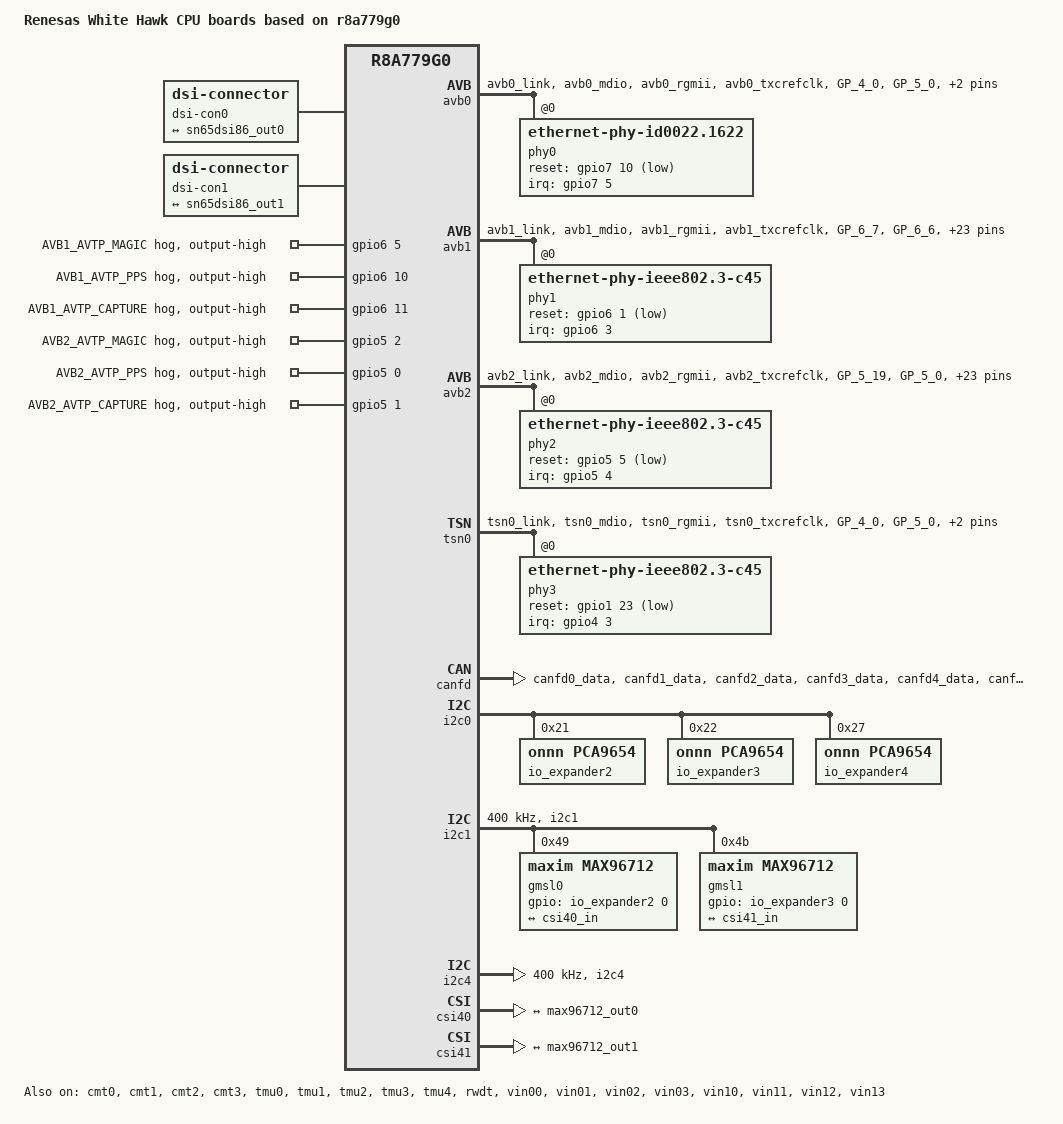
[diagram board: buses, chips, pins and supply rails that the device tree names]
// SPDX-License-Identifier: GPL-2.0
/*
 * Device Tree Source for the White Hawk CPU boards with R-Car V4H
 *
 * Copyright (C) 2021 Renesas Electronics Corp.
 */

/dts-v1/;
#include "r8a779g0-whitehawk-cpu.dtsi"
#include <dt-bindings/media/r8a779g0-csi2.h>

/ {
	model = "Renesas White Hawk CPU boards based on r8a779g0";
	compatible = "renesas,whitehawk-cpu", "renesas,r8a779g0";

	aliases {
		ethernet0 = &avb0;
	};

	reserved-memory {
		#address-cells = <2>;
		#size-cells = <2>;
		ranges;

		vdsp0_region: linux,vdsp0_region@5d000000 {
			compatible = "shared-dma-pool";
			reusable;
			reg = <0x00000000 0x5d000000 0x0 0x00800000>;
		};

		vdsp1_region: linux,vdsp1_region@5d800000 {
			compatible = "shared-dma-pool";
			reusable;
			reg = <0x00000000 0x5d800000 0x0 0x00800000>;
		};

		vdsp2_region: linux,vdsp2_region@5e000000 {
			compatible = "shared-dma-pool";
			reusable;
			reg = <0x00000000 0x5e000000 0x0 0x00800000>;
		};

		vdsp3_region: linux,vdsp3_region@5e800000 {
			compatible = "shared-dma-pool";
			reusable;
			reg = <0x00000000 0x5e800000 0x0 0x00800000>;
		};

		pap_region: linux,pap_region@5f000000 {
			compatible = "shared-dma-pool";
			reusable;
			reg = <0x00000000 0x5f000000 0x0 0x00400000>;
		};

		/* region for cr core application */
		cr_region: linux,cr_region@60000000 {
			no-map;
			reg = <0x00000000 0x60000000 0x0 0x20000000>;
		};

		/* global autoconfigured region for contiguous allocations */
		linux,cma@80000000 {
			compatible = "shared-dma-pool";
			reusable;
			reg = <0x00000000 0x80000000 0x0 0x23000000>;
			linux,cma-default;
		};

		region_40bit: linux,region_40bit@600000000 {
			compatible = "shared-dma-pool";
			reusable;
			reg = <0x6 0x00000000 0x0 0x40000000>;
		};
	};

	dsi-con0 {
		compatible = "dsi-connector";

		port {
			dsi_con_out0: endpoint {
			remote-endpoint = <&sn65dsi86_out0>;
			};
		};
	};

	dsi-con1 {
		compatible = "dsi-connector";

		port {
			dsi_con_out1: endpoint {
			remote-endpoint = <&sn65dsi86_out1>;
			};
		};
	};

	cmem {
		memory-region = <&vdsp0_region>, <&vdsp1_region>,
				<&vdsp2_region>, <&vdsp3_region>,
				<&pap_region>, <&region_40bit>;
	};
};

&avb0 {
	pinctrl-0 = <&avb0_pins>, <&vddq_eth_pins>;
	pinctrl-names = "default";
	phy-handle = <&phy0>;
	tx-internal-delay-ps = <2000>;
	status = "okay";

	phy0: ethernet-phy@0 {
		compatible = "ethernet-phy-id0022.1622",
			     "ethernet-phy-ieee802.3-c22";
		rxc-skew-ps = <1500>;
		reg = <0>;
		interrupt-parent = <&gpio7>;
		interrupts = <5 IRQ_TYPE_LEVEL_LOW>;
		reset-gpios = <&gpio7 10 GPIO_ACTIVE_LOW>;
	};
};

&avb1 {
	pinctrl-0 = <&avb1_pins>, <&vddq_eth_pins>;
	pinctrl-names = "default";
	phy-handle = <&phy1>;
	status = "okay";
	phy-reset-gpios = <&gpio6 1 GPIO_ACTIVE_LOW>;

	phy1: ethernet-phy@1 {
		compatible = "ethernet-phy-ieee802.3-c45";
		reg = <0>;
		interrupt-parent = <&gpio6>;
		interrupts = <3 IRQ_TYPE_LEVEL_LOW>;
		reset-gpios = <&gpio6 1 GPIO_ACTIVE_LOW>;
	};
};

&avb2 {
	pinctrl-0 = <&avb2_pins>, <&vddq_eth_pins>;
	pinctrl-names = "default";
	phy-handle = <&phy2>;
	status = "okay";
	phy-reset-gpios = <&gpio5 5 GPIO_ACTIVE_LOW>;

	phy2: ethernet-phy@2 {
		compatible = "ethernet-phy-ieee802.3-c45";
		reg = <0>;
		interrupt-parent = <&gpio5>;
		interrupts = <4 IRQ_TYPE_LEVEL_LOW>;
		reset-gpios = <&gpio5 5 GPIO_ACTIVE_LOW>;
	};
};

&tsn0 {
	pinctrl-0 = <&tsn0_pins>, <&vddq_eth_pins>;
	pinctrl-names = "default";
	phy-handle = <&phy3>;
	tx-internal-delay;
	status = "okay";

	phy3: ethernet-phy@3 {
		compatible = "ethernet-phy-ieee802.3-c45";
		reg = <0>;
		interrupt-parent = <&gpio4>;
		interrupts = <3 IRQ_TYPE_LEVEL_LOW>;
		reset-gpios = <&gpio1 23 GPIO_ACTIVE_LOW>;
	};
};

&canfd {
	pinctrl-0 = <&canfd0_pins>, <&canfd1_pins>, <&canfd2_pins>,
		<&canfd3_pins>, <&canfd4_pins>, <&canfd5_pins>,
		<&canfd6_pins>, <&canfd7_pins>;
		pinctrl-names = "default";
	status = "okay";

	channel0 {
		status = "okay";
	};

	channel1 {
		status = "okay";
	};

	channel2 {
		status = "okay";
	};

	channel3 {
		status = "okay";
	};

	channel4 {
		status = "okay";
	};

	channel5 {
		status = "okay";
	};

	channel6 {
		status = "okay";
	};

	channel7 {
		status = "okay";
	};
};

&gpio6 {
	avb1_avtp_match {
		gpio-hog;
		gpios = <5 GPIO_ACTIVE_HIGH>;
		output-high;
		line-name = "AVB1_AVTP_MAGIC";
	};

	avb1_avtp_pps {
		gpio-hog;
		gpios = <10 GPIO_ACTIVE_HIGH>;
		output-high;
		line-name = "AVB1_AVTP_PPS";
	};

	avb1_avtp_capture {
		gpio-hog;
		gpios = <11 GPIO_ACTIVE_HIGH>;
		output-high;
		line-name = "AVB1_AVTP_CAPTURE";
	};
};

&gpio5 {
	avb2_avtp_match {
		gpio-hog;
		gpios = <2 GPIO_ACTIVE_HIGH>;
		output-high;
		line-name = "AVB2_AVTP_MAGIC";
	};

	avb2_avtp_pps {
		gpio-hog;
		gpios = <0 GPIO_ACTIVE_HIGH>;
		output-high;
		line-name = "AVB2_AVTP_PPS";
	};

	avb2_avtp_capture {
		gpio-hog;
		gpios = <1 GPIO_ACTIVE_HIGH>;
		output-high;
		line-name = "AVB2_AVTP_CAPTURE";
	};
};

&pfc {
	vddq_eth_pins: vddq_eth {
		pins_pwr {
			pins = "GP_4_0", "GP_5_0", "GP_6_0","GP_7_0";
			power-source = <3300>;
		};
	};

	avb0_pins: avb0 {
		mux {
			groups = "avb0_link", "avb0_mdio", "avb0_rgmii",
				 "avb0_txcrefclk";
			function = "avb0";
		};

		pins_mdio {
			groups = "avb0_mdio";
			drive-strength = <21>;
		};

		pins_mii {
			groups = "avb0_rgmii";
			drive-strength = <21>;
		};

	};

	avb1_pins: avb1 {
		mux {
			groups = "avb1_link", "avb1_mdio", "avb1_rgmii",
			"avb1_txcrefclk";
			function = "avb1";
		};

		pins_mdio {
			groups = "avb1_mdio";
			drive-strength = <24>;
		};

		pins_mii_tx {
			pins = "GP_6_7", "GP_6_6",
				"GP_6_13", "GP_6_12",
				"GP_6_16", "GP_6_18";
			drive-strength = <24>;
		};

		pin_tx_ctl {
			pins = "GP_6_7";
			bias-pull-up;
		};

		pins_puen_disable {
			pins = "GP_6_0", "GP_6_1", "GP_6_2", "GP_6_3", "GP_6_4",
			"GP_6_5", "GP_6_6", "GP_6_8", "GP_6_9", "GP_6_10",
			"GP_6_11", "GP_6_12", "GP_6_13", "GP_6_14", "GP_6_15",
			"GP_6_16", "GP_6_17", "GP_6_18", "GP_6_19", "GP_6_20";
			bias-disable;
		};
	};

	avb2_pins: avb2 {
		mux {
			groups = "avb2_link", "avb2_mdio", "avb2_rgmii",
				"avb2_txcrefclk";
			function = "avb2";
		};

		pins_mdio {
			groups = "avb2_mdio";
			drive-strength = <24>;
		};

		pin_tx_ctl {
			pins = "GP_5_19";
			bias-pull-up;
		};

		pins_puen_disable {
			pins = "GP_5_0", "GP_5_1", "GP_5_2", "GP_5_3", "GP_5_4",
				"GP_5_5", "GP_5_6", "GP_5_7", "GP_5_8", "GP_5_9", "GP_5_10",
				"GP_5_11", "GP_5_12", "GP_5_13", "GP_5_14", "GP_5_15",
				"GP_5_16", "GP_5_17", "GP_5_18", "GP_5_20";
			bias-disable;
		};
	};

	tsn0_pins: tsn0 {
		mux {
			groups = "tsn0_link", "tsn0_mdio", "tsn0_rgmii",
				 "tsn0_txcrefclk";
			function = "tsn0";
		};

		pins_mdio {
			groups = "tsn0_mdio";
			drive-strength = <21>;
		};

		pins_mii {
			groups = "tsn0_rgmii";
			drive-strength = <21>;
		};

	};

	i2c1_pins: i2c1 {
		groups = "i2c1";
		function = "i2c1";
	};

	i2c4_pins: i2c4 {
		groups = "i2c4";
		function = "i2c4";
	};

	canfd0_pins: canfd0 {
		groups = "canfd0_data";
		function = "canfd0";
	};

	canfd1_pins: canfd1 {
		groups = "canfd1_data";
		function = "canfd1";
	};

	canfd2_pins: canfd2 {
		groups = "canfd2_data";
		function = "canfd2";
	};

	canfd3_pins: canfd3 {
		groups = "canfd3_data";
		function = "canfd3";
	};

	canfd4_pins: canfd4 {
		groups = "canfd4_data";
		function = "canfd4";
	};

	canfd5_pins: canfd5 {
		groups = "canfd5_data";
		function = "canfd5";
	};

	canfd6_pins: canfd6 {
		groups = "canfd6_data";
		function = "canfd6";
	};

	canfd7_pins: canfd7 {
		groups = "canfd7_data";
		function = "canfd7";
	};

};

&cmt0 {
	status = "okay";
};

&cmt1 {
	status = "okay";
};

&cmt2 {
	status = "okay";
};

&cmt3 {
	status = "okay";
};

&tmu0 {
	status = "okay";
};

&tmu1 {
	status = "okay";
};

&tmu2 {
	status = "okay";
};

&tmu3 {
	status = "okay";
};

&tmu4 {
	status = "okay";
};

&rwdt {
	timeout-sec = <60>;
	status = "okay";
};

&i2c0 {
	io_expander2: gpio@21 {
		compatible = "onnn,pca9654";
		reg = <0x21>;
		gpio-controller;
		#gpio-cells = <2>;
	};

	io_expander3: gpio@22 {
		compatible = "onnn,pca9654";
		reg = <0x22>;
		gpio-controller;
		#gpio-cells = <2>;
	};

	io_expander4: gpio@27 {
		compatible = "onnn,pca9654";
		reg = <0x27>;
		gpio-controller;
		#gpio-cells = <2>;
	};
};

&i2c1 {
	pinctrl-0 = <&i2c1_pins>;
	pinctrl-names = "default";

	status = "okay";
	clock-frequency = <400000>;

	sn65dsi86_0@2c {
		compatible = "ti,sn65dsi86";
		reg = <0x2c>;
		dp-connector;
		clocks = <&ref_clk>;
		clock-names = "refclk";
		no-use-gpio;
		no-use-scramble;
		hpd-poll;
		status = "disabled";

		ports {
			#address-cells = <1>;
			#size-cells = <0>;

			port@0 {
				reg = <0>;
				sn65dsi86_in0: endpoint {
					remote-endpoint = <&dsi0_out>;
				};
			};

			port@1 {
				reg = <1>;
				sn65dsi86_out0: endpoint {
					remote-endpoint = <&dsi_con_out0>;
				};
			};
		};
	};

	max96789@60 {
		compatible = "maxim,max96789";
		reg = <0x60>;
		enable-gpios = <&io_expander4 0 GPIO_ACTIVE_HIGH>;
		status = "disabled";

		ports {
			#address-cells = <1>;
			#size-cells = <0>;

			port@0 {
				reg = <0>;
				max96789_in: endpoint {
				};
			};

			port@1 {
				reg = <1>;
				max96789_out: endpoint {
				};
			};
		};
	};

	gmsl0: gmsl-deserializer@49 {
		gpio-controller;
		#gpio-cells = <2>;

		compatible = "maxim,max96712";
		reg = <0x49>, <0x01>, <0x02>, <0x03>, <0x04>;
		gpios = <&io_expander2 0 GPIO_ACTIVE_HIGH>;

		ports {
			#address-cells = <1>;
			#size-cells = <0>;

			port@0 {
				reg = <0>;
				max96712_in0: endpoint {
				};
			};

			port@1 {
				reg = <1>;
				max96712_in1: endpoint {
				};
			};

			port@2 {
				reg = <2>;
				max96712_in2: endpoint {
				};
			};

			port@3 {
				reg = <3>;
				max96712_in3: endpoint {
				};
			};

			port@4 {
				reg = <4>;
				max96712_out0: endpoint {
					bus-type = <1>;
					clock-lanes = <0>;
					data-lanes = <1 2 3>;
					remote-endpoint = <&csi40_in>;
				};
			};
		};

		i2c-mux {
			#address-cells = <1>;
			#size-cells = <0>;

			i2c@0 {
				#address-cells = <1>;
				#size-cells = <0>;
				reg = <0>;

				status = "disabled";
			};

			i2c@1 {
				#address-cells = <1>;
				#size-cells = <0>;
				reg = <1>;

				status = "disabled";
			};

			i2c@2 {
				#address-cells = <1>;
				#size-cells = <0>;
				reg = <2>;

				status = "disabled";
			};

			i2c@3 {
				#address-cells = <1>;
				#size-cells = <0>;
				reg = <3>;

				status = "disabled";
			};
		};
	};

	gmsl1: gmsl-deserializer@4b {
		gpio-controller;
		#gpio-cells = <2>;

		compatible = "maxim,max96712";
		reg = <0x4b>, <0x05>, <0x06>, <0x07>, <0x08>;
		gpios = <&io_expander3 0 GPIO_ACTIVE_HIGH>;
		maxim,invert_phy-pol;

		ports {
			#address-cells = <1>;
			#size-cells = <0>;

			port@0 {
				reg = <0>;
				max96712_in4: endpoint {
				};
			};

			port@1 {
				reg = <1>;
				max96712_in5: endpoint {
				};
			};

			port@2 {
				reg = <2>;
				max96712_in6: endpoint {
				};
			};

			port@3 {
				reg = <3>;
				max96712_in7: endpoint {
				};
			};

			port@4 {
				reg = <4>;
				max96712_out1: endpoint {
					bus-type = <1>;
					clock-lanes = <0>;
					data-lanes = <1 2 3>;
					remote-endpoint = <&csi41_in>;
				};
			};
		};

		i2c-mux {
			#address-cells = <1>;
			#size-cells = <0>;

			i2c@0 {
				#address-cells = <1>;
				#size-cells = <0>;
				reg = <0>;

				status = "disabled";
			};

			i2c@1 {
				#address-cells = <1>;
				#size-cells = <0>;
				reg = <1>;

				status = "disabled";
			};

			i2c@2 {
				#address-cells = <1>;
				#size-cells = <0>;
				reg = <2>;

				status = "disabled";
			};

			i2c@3 {
				#address-cells = <1>;
				#size-cells = <0>;
				reg = <3>;

				status = "disabled";
			};
		};
	};
};

&i2c4 {
	pinctrl-0 = <&i2c4_pins>;
	pinctrl-names = "default";

	status = "okay";
	clock-frequency = <400000>;

	sn65dsi86_1@2c {
		compatible = "ti,sn65dsi86";
		reg = <0x2c>;
		dp-connector;
		clocks = <&ref_clk>;
		clock-names = "refclk";
		no-use-gpio;
		no-use-scramble;
		hpd-poll;
		status = "disabled";

		ports {
			#address-cells = <1>;
			#size-cells = <0>;

			port@0 {
				reg = <0>;
				sn65dsi86_in1: endpoint {
					remote-endpoint = <&dsi1_out>;
				};
			};

			port@1 {
				reg = <1>;
				sn65dsi86_out1: endpoint {
					remote-endpoint = <&dsi_con_out1>;
				};
			};
		};
	};
};

&pcie_bus_clk {
	clock-frequency = <100000000>;
};

&du {
	status = "disabled";
};

&dsi0 {
	status = "disabled";

	use-extal-clk;

	ports {
		port@1 {
			endpoint {
				remote-endpoint = <&sn65dsi86_in0>;
				data-lanes = <1 2 3 4>;
			};
		};
	};
};

&dsc {
	status = "disabled";
};

&dsi1 {
	status = "disabled";

	use-extal-clk;

	ports {
		port@1 {
			endpoint {
				remote-endpoint = <&sn65dsi86_in1>;
				data-lanes = <1 2 3 4>;
			};
		};
	};
};

&ref_clk {
	clock-frequency = <38400000>;
};

&csi40 {
	status = "okay";
	pin-swap;

	ports {
		#address-cells = <1>;
		#size-cells = <0>;

		port@0 {
			reg = <0>;

			csi40_in: endpoint {
				bus-type = <1>;
				clock-lanes = <0>;
				data-lanes = <1 2 3>;
				pin-swap-rx-order = <ABC BCA ABC>;
				hs-receive-eq = <0x4 0x4 0x4>;
				remote-endpoint = <&max96712_out0>;
			};
		};
	};
};

&csi41 {
	status = "okay";
	pin-swap;

	ports {
		#address-cells = <1>;
		#size-cells = <0>;

		port@0 {
			reg = <0>;

			csi41_in: endpoint {
				bus-type = <1>;
				clock-lanes = <0>;
				data-lanes = <1 2 3>;
				pin-swap-rx-order = <ABC BCA ABC>;
				hs-receive-eq = <0x4 0x4 0x4>;
				remote-endpoint = <&max96712_out1>;
			};
		};
	};
};

&vin00 {
	status = "okay";
};

&vin01 {
	status = "okay";
};

&vin02 {
	status = "okay";
};

&vin03 {
	status = "okay";
};

&vin10 {
	status = "okay";
};

&vin11 {
	status = "okay";
};

&vin12 {
	status = "okay";
};

&vin13 {
	status = "okay";
};
/* FAKRA Overlay */
#include "whitehawk-fakra.dtsi"
